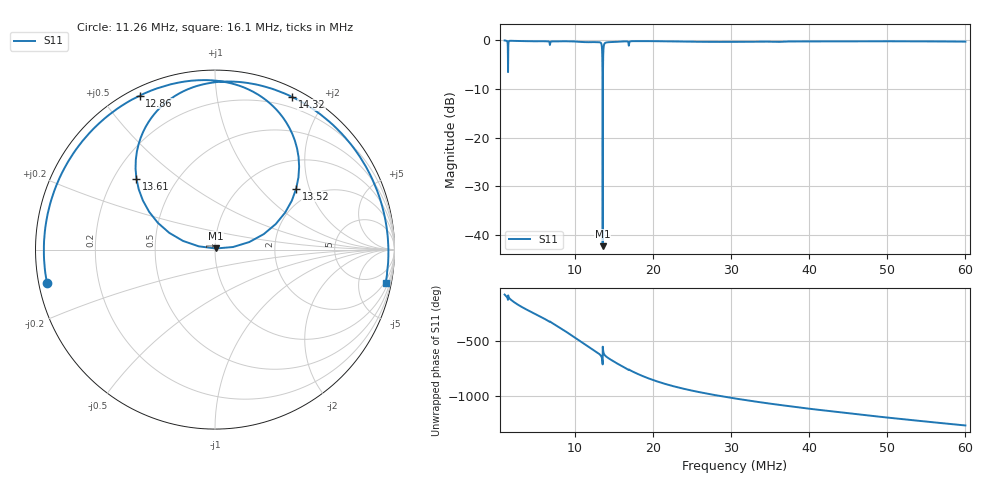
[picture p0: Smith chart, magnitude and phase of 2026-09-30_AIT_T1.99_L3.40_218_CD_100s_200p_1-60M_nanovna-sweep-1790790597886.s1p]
! NanoVNA Web complex sweep
! Processing: unaveraged complex samples; linear segment spacing; no smoothing
# Hz S RI R 50
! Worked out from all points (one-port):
!   10100 points, 1 MHz to 60 MHz, reference 50 ohm
!   lowest |S11| = -42.3 dB at 13.56 MHz (marker M1), VSWR 1.02, Z = 50.4 + j0.628 ohm
!   |S11| at or under -10 dB: 13.54037 MHz to 13.58128 MHz (40.91 kHz wide, 0.302 % of centre)
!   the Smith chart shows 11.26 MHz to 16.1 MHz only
!   S11 on the Smith chart (normalised r, x): 11.26 MHz: 0.02, -0.10; 12.86 MHz: 0.03, +0.62; 13.52 MHz: 1.64, +1.63; 13.61 MHz: 0.29, +0.36; 14.32 MHz: 0.09, +1.62; 16.1 MHz: 2, -10
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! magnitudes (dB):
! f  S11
! 1 MHz  -0.1
! 1.117 MHz  -0.1
! 1.193 MHz  -0.1
! 1.543 MHz  -0.2
! 1.87 MHz  -0.1
! 8.378 MHz  -0.2
! 11.26 MHz  -0.4
! 12.86 MHz  -0.4
! 13.2 MHz  -0.4
! 13.24 MHz  -0.5
! 13.27 MHz  -0.5
! 13.31 MHz  -0.5
! 13.52 MHz  -5.0
! 13.56 MHz  -42.3
! 13.61 MHz  -4.6
! 13.81 MHz  -0.7
! 13.85 MHz  -0.6
! 13.88 MHz  -0.6
! 13.93 MHz  -0.5
! 14.32 MHz  -0.4
! 15.75 MHz  -0.3
! 16.1 MHz  -0.3
! 23.13 MHz  -0.3
! 30.5 MHz  -0.4
! 37.87 MHz  -0.3
! 45.25 MHz  -0.2
! 52.63 MHz  -0.2
! 60 MHz  -0.3
